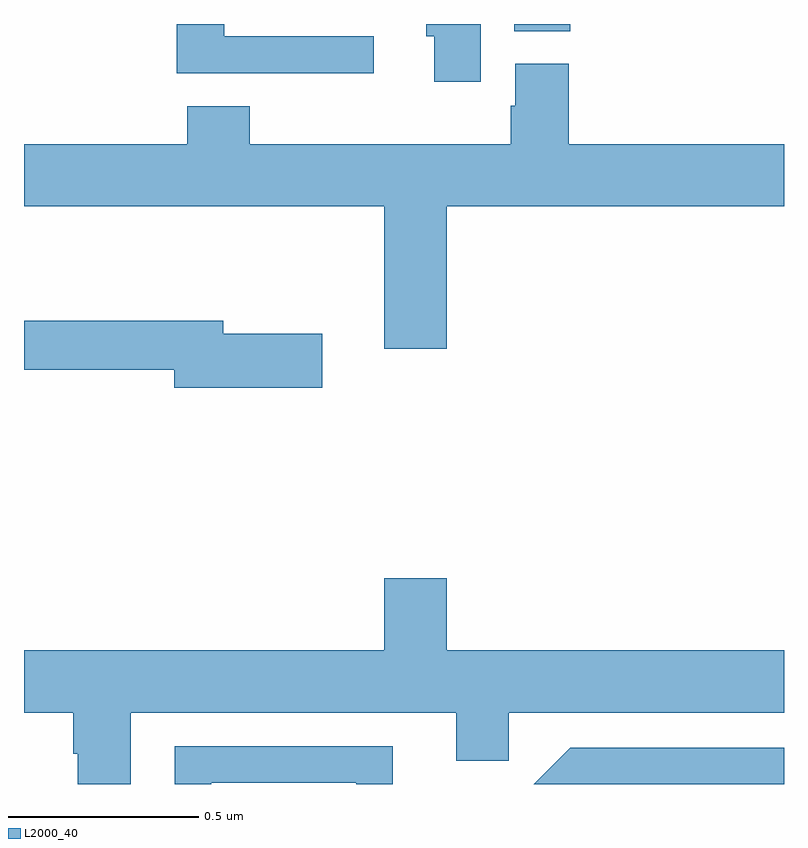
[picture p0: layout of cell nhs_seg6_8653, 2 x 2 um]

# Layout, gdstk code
import gdstk
lib = gdstk.Library(unit=1e-6, precision=1e-09)
def R(c, l, rs):  # rectangles x0, y0, x1, y1
    for r in rs: c.add(gdstk.rectangle(r[:2], r[2:], *l))
def P(c, l, *ps):  # polygons
    for p in ps: c.add(gdstk.Polygon(p, *l))
L2000_40 = (2000, 40)

nhs_seg6_8653 = lib.new_cell('nhs_seg6_8653')
R(nhs_seg6_8653, L2000_40, [(225.29,930.481,225.437,930.5)])
P(nhs_seg6_8653, L2000_40, [(224.92,930.468),(224.527,930.468),(224.527,930.5),(224.402,930.5),(224.402,930.371),(224.92,930.371)],
  [(225.202,930.5),(225.059,930.5),(225.059,930.468),(225.08,930.468),(225.08,930.348),(225.202,930.348)],
  [(226,930.184),(225.434,930.184),(225.434,930.396),(225.293,930.396),(225.293,930.285),(225.281,930.285),(225.281,930.184),(224.594,930.184),(224.594,930.283),(224.429,930.283),(224.429,930.184),(224,930.184),(224,930.02),(224.948,930.02),(224.948,929.646),(225.112,929.646),(225.112,930.02),(226,930.02)],
  [(224.785,929.685),(224.524,929.685),(224.524,929.719),(224,929.719),(224,929.59),(224.396,929.59),(224.396,929.543),(224.785,929.543)],
  [(224.281,928.688),(225.137,928.688),(225.137,928.561),(225.276,928.561),(225.276,928.688),(226,928.688),(226,928.852),(225.112,928.852),(225.112,929.041),(224.948,929.041),(224.948,928.852),(224,928.852),(224,928.688),(224.129,928.688),(224.129,928.579),(224.142,928.579),(224.142,928.5),(224.281,928.5)],
  [(224.493,928.503),(224.874,928.503),(224.874,928.5),(224.971,928.5),(224.971,928.599),(224.397,928.599),(224.397,928.5),(224.493,928.5)],
  [(226,928.596),(225.438,928.596),(225.342,928.5),(226,928.5)])

lib.write_gds('nhs_seg6_8653.gds')
